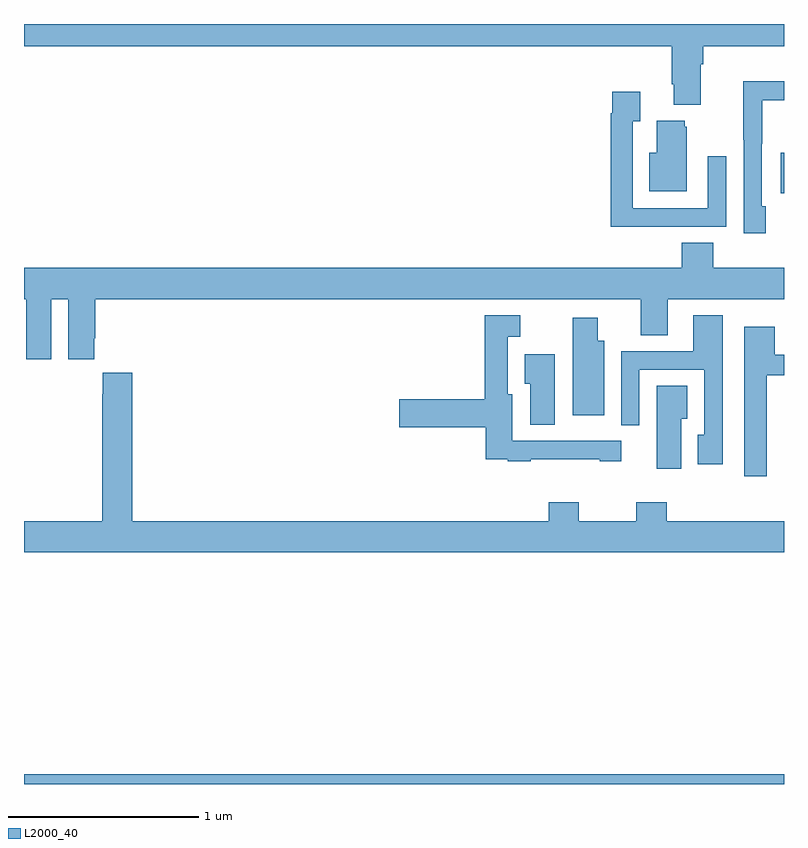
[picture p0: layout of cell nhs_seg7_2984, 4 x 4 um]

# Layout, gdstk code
import gdstk
lib = gdstk.Library(unit=1e-6, precision=1e-09)
def R(c, l, rs):  # rectangles x0, y0, x1, y1
    for r in rs: c.add(gdstk.rectangle(r[:2], r[2:], *l))
def P(c, l, *ps):  # polygons
    for p in ps: c.add(gdstk.Polygon(p, *l))
L2000_40 = (2000, 40)

nhs_seg7_2984 = lib.new_cell('nhs_seg7_2984')
R(nhs_seg7_2984, L2000_40, [(301,1062,305,1062.052), (304.982,1065.11,305,1065.322)])
P(nhs_seg7_2984, L2000_40, [(304.561,1065.788),(304.574,1065.788),(304.574,1065.884),(305,1065.884),(305,1066),(301,1066),(301,1065.884),(304.409,1065.884),(304.409,1065.682),(304.421,1065.682),(304.421,1065.575),(304.561,1065.575)],
  [(304.903,1065.042),(304.884,1065.042),(304.884,1065.37),(304.885,1065.37),(304.885,1065.6),(305,1065.6),(305,1065.698),(304.786,1065.698),(304.786,1065.391),(304.788,1065.391),(304.788,1064.898),(304.903,1064.898)],
  [(304.379,1064.934),(304.695,1064.934),(304.695,1065.304),(304.599,1065.304),(304.599,1065.03),(304.203,1065.03),(304.203,1065.487),(304.243,1065.487),(304.243,1065.643),(304.095,1065.643),(304.095,1065.53),(304.087,1065.53),(304.087,1064.933),(304.379,1064.933)],
  [(304.489,1065.459),(304.478,1065.459),(304.478,1065.49),(304.331,1065.49),(304.331,1065.322),(304.292,1065.322),(304.292,1065.119),(304.489,1065.119)],
  [(301.144,1064.552),(301.232,1064.552),(301.232,1064.235),(301.369,1064.235),(301.369,1064.347),(301.376,1064.347),(301.376,1064.552),(304.247,1064.552),(304.247,1064.362),(304.387,1064.362),(304.387,1064.552),(305,1064.552),(305,1064.716),(304.628,1064.716),(304.628,1064.849),(304.463,1064.849),(304.463,1064.716),(301,1064.716),(301,1064.552),(301.013,1064.552),(301.013,1064.235),(301.144,1064.235)],
  [(304.677,1064.467),(304.523,1064.467),(304.523,1064.277),(304.143,1064.277),(304.143,1063.887),(304.239,1063.887),(304.239,1064.181),(304.581,1064.181),(304.581,1063.839),(304.547,1063.839),(304.547,1063.683),(304.677,1063.683)],
  [(303.667,1063.708),(304.031,1063.708),(304.031,1063.698),(304.143,1063.698),(304.143,1063.806),(303.571,1063.806),(303.571,1064.052),(303.547,1064.052),(303.547,1064.354),(303.613,1064.354),(303.613,1064.467),(303.426,1064.467),(303.426,1064.024),(302.976,1064.024),(302.976,1063.877),(303.431,1063.877),(303.431,1063.71),(303.547,1063.71),(303.547,1063.698),(303.667,1063.698)],
  [(304.054,1064.332),(304.021,1064.332),(304.021,1064.455),(303.887,1064.455),(303.887,1063.94),(304.054,1063.94)],
  [(304.909,1064.151),(305,1064.151),(305,1064.26),(304.951,1064.26),(304.951,1064.407),(304.79,1064.407),(304.79,1063.62),(304.909,1063.62)],
  [(303.793,1064.263),(303.635,1064.263),(303.635,1064.107),(303.665,1064.107),(303.665,1063.891),(303.793,1063.891)],
  [(305,1063.384),(304.382,1063.384),(304.382,1063.483),(304.222,1063.483),(304.222,1063.384),(303.921,1063.384),(303.921,1063.483),(303.761,1063.483),(303.761,1063.384),(301.571,1063.384),(301.571,1064.164),(301.415,1064.164),(301.415,1064.051),(301.411,1064.051),(301.411,1063.384),(301,1063.384),(301,1063.22),(305,1063.22)],
  [(304.459,1063.922),(304.492,1063.922),(304.492,1064.096),(304.331,1064.096),(304.331,1063.659),(304.459,1063.659)])

lib.write_gds('nhs_seg7_2984.gds')
